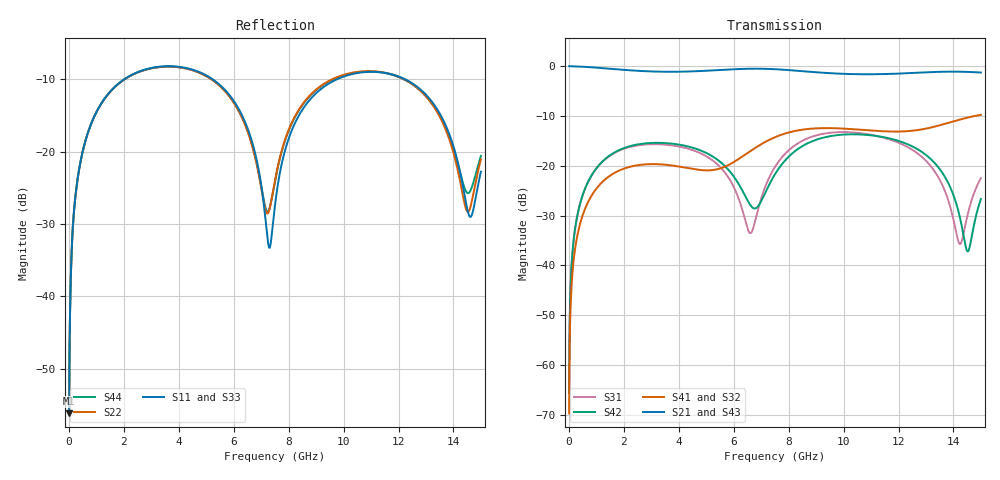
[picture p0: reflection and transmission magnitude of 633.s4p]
! Created with skrf 1.8.0 (http://scikit-rf.org).
# GHz S RI R 50.0
!freq ReS11 ImS11 ReS12 ImS12 ReS13 ImS13
! ReS14 ImS14
! ReS21 ImS21 ReS22 ImS22 ReS23 ImS23
! ReS24 ImS24
! ReS31 ImS31 ReS32 ImS32 ReS33 ImS33
! ReS34 ImS34
! ReS41 ImS41 ReS42 ImS42 ReS43 ImS43
! ReS44 ImS44
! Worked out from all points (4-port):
!   2499 points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, 5 MHz to 15 GHz, reference 50 ohm
!   strongest paths, dB at 5 MHz, 3.476 GHz, 7.19 GHz, 11.1 GHz, 15 GHz:
!     S21: 0.0, -1.1, -0.5, -1.6, -1.3
!     S43: 0.0, -1.1, -0.5, -1.6, -1.3
!     S41: -69.7, -19.8, -15.1, -13.0, -9.8
!     S32: -69.7, -19.9, -15.1, -13.1, -9.8
!     S42: -65.6, -15.4, -24.9, -14.0, -26.7
!     S31: -65.6, -15.8, -23.6, -13.9, -22.5
!   lowest |S11| = -56.2 dB at 5 MHz (marker M1), VSWR 1.00, Z = 50.1 + j0.0938 ohm
!   |S11| at or under -10 dB: start of sweep to 2 GHz; 5.244 GHz to 9.743 GHz (4.499 GHz wide, 60 % of centre); 12.26 GHz to end of sweep
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0.005  0.00124 0.000936  0.9987 -0.00241  6.2e-05 0.000521  -6.02e-05 -0.000321
       0.9987 -0.00241  0.00124 0.000936  -6.01e-05 -0.000321  6.21e-05 0.000521
       6.2e-05 0.000521  -6.01e-05 -0.000321  0.00124 0.000936  0.9987 -0.00241
       -6.02e-05 -0.000321  6.21e-05 0.000521  0.9987 -0.00241  0.00124 0.000936
0.4126719  0.0228 0.0808  0.9685 -0.1971  0.011 0.0409  -0.00936 -0.0249
           0.9685 -0.1971  0.0227 0.0808  -0.00934 -0.0249  0.0117 0.0407
           0.011 0.0409  -0.00934 -0.0249  0.0228 0.0807  0.9685 -0.1971
           -0.00936 -0.0249  0.0117 0.0407  0.9685 -0.1971  0.0227 0.0808
2.075865  0.2713 0.1757  0.5456 -0.7326  0.1325 0.071  -0.0949 -0.00502
          0.5456 -0.7326  0.2688 0.1773  -0.0946 -0.00532  0.1404 0.0602
          0.1325 0.071  -0.0946 -0.00532  0.2716 0.1756  0.5455 -0.7326
          -0.0949 -0.00502  0.1404 0.0602  0.5455 -0.7326  0.2687 0.1774
7.265527  0.0213 -0.00732  -0.9352 -0.0637  0.0329 0.0658  -0.00491 0.1801
          -0.9352 -0.0637  0.0378 0.0053  -0.0102 0.1798  -0.0243 0.0575
          0.0329 0.0658  -0.0102 0.1798  0.021 -0.00842  -0.9351 -0.0637
          -0.00491 0.1801  -0.0243 0.0575  -0.9351 -0.0637  0.0386 0.00368
10.20425  0.3292 0.0869  -0.3371 0.7618  0.2165 -0.0125  0.2339 0.0088
          -0.3371 0.7618  0.3408 0.0739  0.2298 0.0169  0.2065 -0.00419
          0.2165 -0.0125  0.2298 0.0169  0.3326 0.0838  -0.3362 0.7622
          0.2339 0.0088  0.2065 -0.00419  -0.3362 0.7622  0.338 0.0759
14.23093  0.0455 -0.0585  0.8336 0.2791  0.0159 -0.00414  0.0726 -0.2811
          0.8336 0.2791  0.0448 -0.0459  0.0928 -0.2747  -0.021 -0.0224
          0.0159 -0.00414  0.0928 -0.2747  0.0352 -0.0653  0.8337 0.2774
          0.0726 -0.2811  -0.021 -0.0224  0.8337 0.2774  0.0578 -0.0448
15  0.0462 0.0563  0.8618 -0.024  0.056 0.0501  -0.0341 -0.3226
    0.8618 -0.024  0.0543 0.0699  -0.0111 -0.3245  0.02 0.0418
    0.056 0.0501  -0.0111 -0.3245  0.0344 0.055  0.8616 -0.0261
    -0.0341 -0.3226  0.02 0.0418  0.8616 -0.0261  0.0672 0.065
